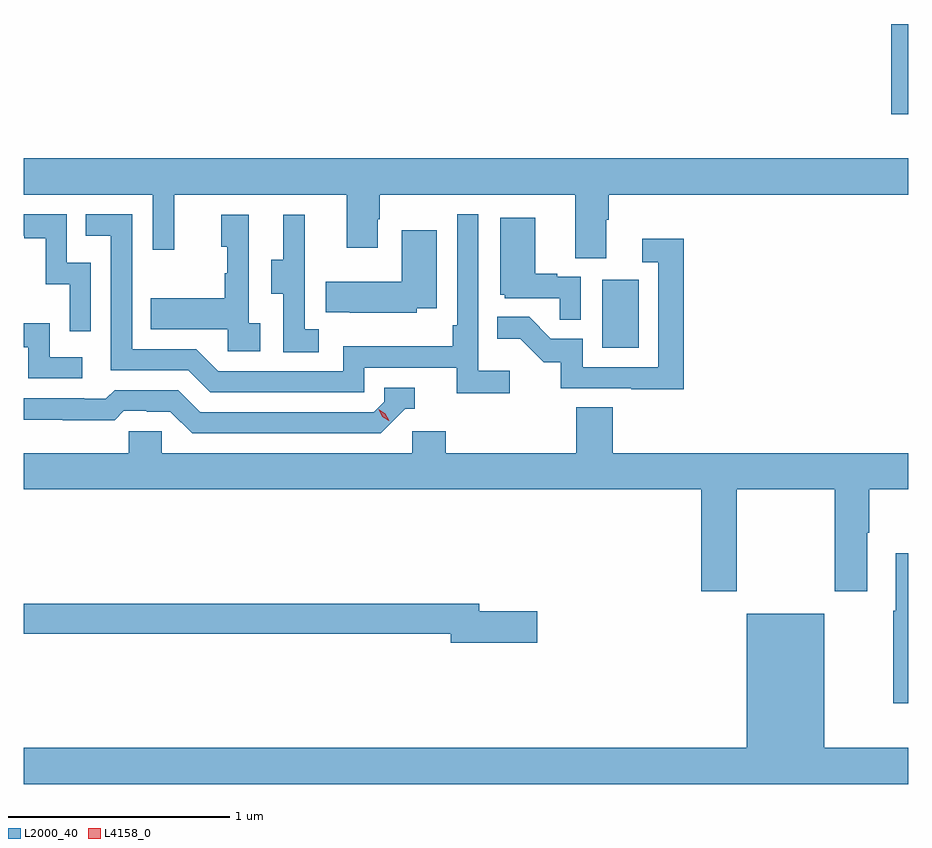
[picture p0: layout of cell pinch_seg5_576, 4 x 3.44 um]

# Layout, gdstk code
import gdstk
lib = gdstk.Library(unit=1e-6, precision=1e-09)
def R(c, l, rs):  # rectangles x0, y0, x1, y1
    for r in rs: c.add(gdstk.rectangle(r[:2], r[2:], *l))
def P(c, l, *ps):  # polygons
    for p in ps: c.add(gdstk.Polygon(p, *l))
L2000_40 = (2000, 40)
L4158_0 = (4158, 0)

pinch_seg5_576 = lib.new_cell('pinch_seg5_576')
R(pinch_seg5_576, L2000_40, [(1118.186,858.732,1118.35,859.039), (1119.493,859.788,1119.57,860.196)])
P(pinch_seg5_576, L2000_40, [(1118.203,859.312),(1118.216,859.312),(1118.216,859.424),(1119.57,859.424),(1119.57,859.588),(1115.57,859.588),(1115.57,859.424),(1116.153,859.424),(1116.153,859.176),(1116.251,859.176),(1116.251,859.424),(1117.031,859.424),(1117.031,859.185),(1117.171,859.185),(1117.171,859.313),(1117.179,859.313),(1117.179,859.424),(1118.063,859.424),(1118.063,859.138),(1118.203,859.138)],
  [(1117.768,858.628),(1117.626,858.628),(1117.626,859.336),(1117.53,859.336),(1117.53,858.835),(1117.51,858.835),(1117.51,858.739),(1117.014,858.739),(1117.014,858.627),(1116.45,858.627),(1116.351,858.726),(1116.06,858.726),(1116.06,859.335),(1115.851,859.335),(1115.851,859.239),(1115.964,859.239),(1115.964,858.63),(1116.314,858.63),(1116.413,858.531),(1117.11,858.531),(1117.11,858.642),(1117.529,858.642),(1117.529,858.526),(1117.768,858.526)],
  [(1115.874,859.116),(1115.766,859.116),(1115.766,859.335),(1115.57,859.335),(1115.57,859.239),(1115.573,859.239),(1115.573,859.227),(1115.669,859.227),(1115.669,859.019),(1115.778,859.019),(1115.778,858.807),(1115.874,858.807)],
  [(1116.64,858.842),(1116.588,858.842),(1116.588,859.333),(1116.464,859.333),(1116.464,859.188),(1116.49,859.188),(1116.49,859.07),(1116.48,859.07),(1116.48,858.955),(1116.145,858.955),(1116.145,858.815),(1116.492,858.815),(1116.492,858.717),(1116.64,858.717)],
  [(1116.904,858.815),(1116.84,858.815),(1116.84,859.119),(1116.842,859.119),(1116.842,859.333),(1116.743,859.333),(1116.743,859.131),(1116.689,859.131),(1116.689,858.976),(1116.744,858.976),(1116.744,858.712),(1116.904,858.712)],
  [(1118.088,859.053),(1117.982,859.053),(1117.982,859.066),(1117.882,859.066),(1117.882,859.321),(1117.724,859.321),(1117.724,858.972),(1117.746,858.972),(1117.746,858.957),(1117.993,858.957),(1117.993,858.859),(1118.088,858.859)],
  [(1117.347,858.911),(1117.438,858.911),(1117.438,859.264),(1117.28,859.264),(1117.28,859.03),(1116.937,859.03),(1116.937,858.893),(1117.045,858.893),(1117.045,858.89),(1117.347,858.89)],
  [(1118.555,859.225),(1118.367,859.225),(1118.367,859.119),(1118.439,859.119),(1118.439,858.645),(1118.097,858.645),(1118.097,858.774),(1117.953,858.774),(1117.855,858.872),(1117.711,858.872),(1117.711,858.773),(1117.815,858.773),(1117.922,858.666),(1117.999,858.666),(1117.999,858.549),(1118.317,858.549),(1118.317,858.544),(1118.555,858.544)],
  [(1115.836,858.69),(1115.688,858.69),(1115.688,858.844),(1115.57,858.844),(1115.57,858.735),(1115.592,858.735),(1115.592,858.594),(1115.836,858.594)],
  [(1117.296,858.456),(1117.339,858.456),(1117.339,858.552),(1117.2,858.552),(1117.2,858.489),(1117.152,858.441),(1116.369,858.441),(1116.27,858.54),(1115.981,858.54),(1115.942,858.501),(1115.843,858.501),(1115.843,858.504),(1115.57,858.504),(1115.57,858.407),(1115.748,858.407),(1115.748,858.405),(1115.981,858.405),(1116.023,858.447),(1116.126,858.447),(1116.126,858.444),(1116.233,858.444),(1116.332,858.345),(1117.185,858.345)],
  [(1118.793,858.092),(1119.238,858.092),(1119.238,857.631),(1119.385,857.631),(1119.385,857.896),(1119.393,857.896),(1119.393,858.092),(1119.57,858.092),(1119.57,858.256),(1118.234,858.256),(1118.234,858.464),(1118.069,858.464),(1118.069,858.256),(1117.478,858.256),(1117.478,858.354),(1117.326,858.354),(1117.326,858.256),(1116.195,858.256),(1116.195,858.354),(1116.045,858.354),(1116.045,858.256),(1115.57,858.256),(1115.57,858.092),(1118.633,858.092),(1118.633,857.631),(1118.793,857.631)],
  [(1119.57,857.804),(1119.513,857.804),(1119.513,857.543),(1119.501,857.543),(1119.501,857.124),(1119.57,857.124)],
  [(1117.891,857.54),(1117.63,857.54),(1117.63,857.576),(1115.57,857.576),(1115.57,857.44),(1117.502,857.44),(1117.502,857.398),(1117.891,857.398)],
  [(1119.57,856.924),(1119.19,856.924),(1119.19,857.53),(1118.84,857.53),(1118.84,856.924),(1115.57,856.924),(1115.57,856.76),(1119.57,856.76)])
P(pinch_seg5_576, L4158_0, [(1117.221,858.402),(1117.191,858.421),(1117.175,858.454),(1117.175,858.454),(1117.175,858.454),(1117.206,858.435),(1117.222,858.402),(1117.222,858.402)])

lib.write_gds('pinch_seg5_576.gds')
